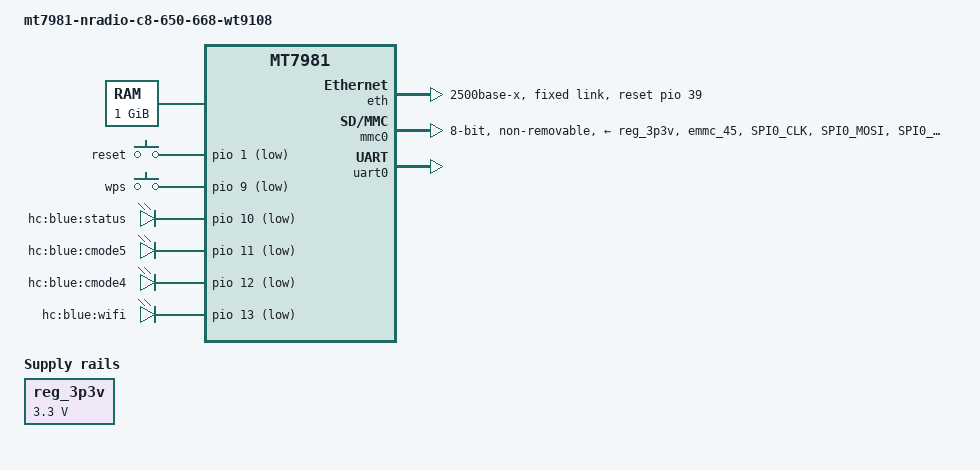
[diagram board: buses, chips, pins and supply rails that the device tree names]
// SPDX-License-Identifier: GPL-2.0-or-later OR MIT
/*
 * NRadio C8-650-668 (HC-WT9108) - MediaTek MT7981B, eMMC
 * U-Boot 2025 board device tree (bl-mt798x-dhcpd style)
 *
 * 参数取自设备自带 DTB（kernel 分区 FIT 内，model = "HC-WT9108"，17 KB）反编译结果：
 *   内存 1 GiB DDR4、eMMC emmc_45 8bit、MT7531 switch reset = pio39 ACTIVE_HIGH、
 *   reset 键 pio1 / wps 键 pio9、LED status pio10 / cmode5 pio11 / cmode4 pio12 / wifi pio13。
 */

/dts-v1/;
#include "mt7981.dtsi"
#include <dt-bindings/gpio/gpio.h>
#include <dt-bindings/input/linux-event-codes.h>

/ {
	#address-cells = <1>;
	#size-cells = <1>;
	model = "mt7981-nradio-c8-650-668-wt9108";
	compatible = "mediatek,mt7981", "mediatek,mt7981-rfb";

	chosen {
		stdout-path = &uart0;
		tick-timer = &timer0;
	};

	config {
		bootcmd = "mtkboardboot";
		blink_led = "hc:blue:status";
		system_led = "hc:blue:status";
	};

	memory@40000000 {
		device_type = "memory";
		reg = <0x40000000 0x40000000>;
	};

	gpio-keys {
		compatible = "gpio-keys";

		button-reset {
			label = "reset";
			linux,code = <KEY_RESTART>;
			gpios = <&pio 1 GPIO_ACTIVE_LOW>;
		};

		button-wps {
			label = "wps";
			linux,code = <KEY_WPS_BUTTON>;
			gpios = <&pio 9 GPIO_ACTIVE_LOW>;
		};
	};

	leds {
		compatible = "gpio-leds";

		led-0 {
			label = "hc:blue:status";
			gpios = <&pio 10 GPIO_ACTIVE_LOW>;
		};

		led-1 {
			label = "hc:blue:cmode5";
			gpios = <&pio 11 GPIO_ACTIVE_LOW>;
		};

		led-2 {
			label = "hc:blue:cmode4";
			gpios = <&pio 12 GPIO_ACTIVE_LOW>;
		};

		led-3 {
			label = "hc:blue:wifi";
			gpios = <&pio 13 GPIO_ACTIVE_LOW>;
		};
	};

	reg_3p3v: regulator-3p3v {
		compatible = "regulator-fixed";
		regulator-name = "fixed-3.3V";
		regulator-min-microvolt = <3300000>;
		regulator-max-microvolt = <3300000>;
		regulator-boot-on;
		regulator-always-on;
	};

	bl2_verify {
		bl2_compatible = "emmc";
	};
};

&eth {
	status = "okay";
	mediatek,gmac-id = <0>;
	phy-mode = "2500base-x";
	mediatek,switch = "auto";
	reset-gpios = <&pio 39 GPIO_ACTIVE_HIGH>;

	fixed-link {
		speed = <2500>;
		full-duplex;
	};
};

&mmc0 {
	pinctrl-names = "default";
	pinctrl-0 = <&mmc0_pins_default>;
	bus-width = <8>;
	max-frequency = <26000000>;
	cap-mmc-hw-reset;
	vmmc-supply = <&reg_3p3v>;
	non-removable;
	status = "okay";
};

&pio {
	mmc0_pins_default: mmc0default {
		mux {
			function = "flash";
			groups = "emmc_45";
		};
		conf-cmd-dat {
			pins = "SPI0_CLK", "SPI0_MOSI", "SPI0_MISO",
				"SPI0_CS",  "SPI0_HOLD", "SPI0_WP",
				"SPI1_CLK", "SPI1_MOSI", "SPI1_MISO";
			input-enable;
			drive-strength = <MTK_DRIVE_4mA>;
			bias-pull-up = <MTK_PUPD_SET_R1R0_01>;
		};
		conf-clk {
			pins = "SPI1_CS";
			drive-strength = <MTK_DRIVE_6mA>;
			bias-pull-down = <MTK_PUPD_SET_R1R0_10>;
		};
		conf-rst {
			pins = "PWM0";
			drive-strength = <MTK_DRIVE_4mA>;
			bias-pull-up = <MTK_PUPD_SET_R1R0_01>;
		};
	};
};

&uart0 {
	status = "okay";
};

&watchdog {
	status = "disabled";
};
